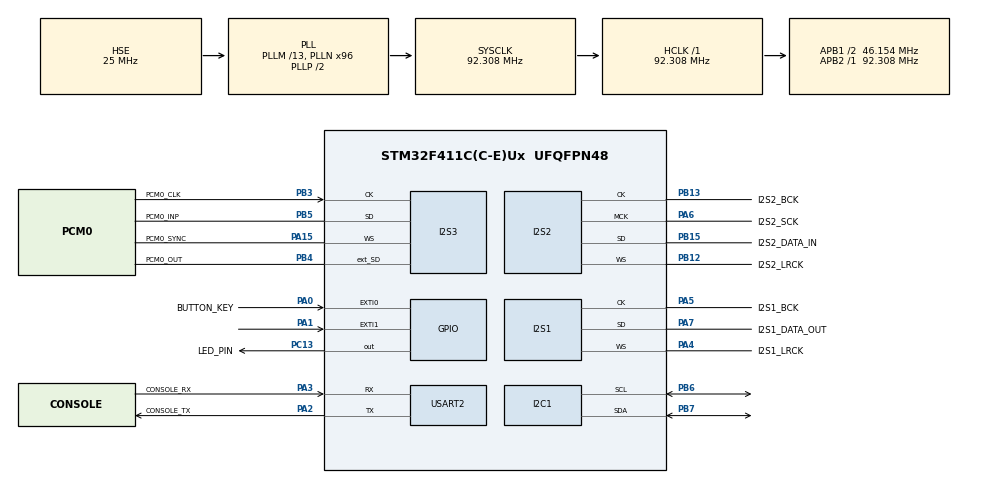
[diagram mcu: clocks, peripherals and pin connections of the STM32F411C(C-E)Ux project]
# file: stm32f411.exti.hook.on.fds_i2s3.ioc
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Dma.I2S3_EXT_TX.2.Direction=DMA_MEMORY_TO_PERIPH
Dma.I2S3_EXT_TX.2.FIFOMode=DMA_FIFOMODE_DISABLE
Dma.I2S3_EXT_TX.2.Instance=DMA1_Stream5
Dma.I2S3_EXT_TX.2.MemDataAlignment=DMA_MDATAALIGN_HALFWORD
Dma.I2S3_EXT_TX.2.MemInc=DMA_MINC_ENABLE
Dma.I2S3_EXT_TX.2.Mode=DMA_CIRCULAR
Dma.I2S3_EXT_TX.2.PeriphDataAlignment=DMA_PDATAALIGN_HALFWORD
Dma.I2S3_EXT_TX.2.PeriphInc=DMA_PINC_DISABLE
Dma.I2S3_EXT_TX.2.Priority=DMA_PRIORITY_LOW
Dma.Request0=SPI1_TX
Dma.Request1=SPI2_RX
Dma.Request2=I2S3_EXT_TX
Dma.Request3=SPI3_RX
Dma.SPI1_TX.0.Direction=DMA_MEMORY_TO_PERIPH
Dma.SPI1_TX.0.FIFOMode=DMA_FIFOMODE_DISABLE
Dma.SPI1_TX.0.Instance=DMA2_Stream2
Dma.SPI1_TX.0.MemDataAlignment=DMA_MDATAALIGN_HALFWORD
Dma.SPI1_TX.0.MemInc=DMA_MINC_ENABLE
Dma.SPI1_TX.0.Mode=DMA_CIRCULAR
Dma.SPI1_TX.0.PeriphDataAlignment=DMA_PDATAALIGN_HALFWORD
Dma.SPI1_TX.0.PeriphInc=DMA_PINC_DISABLE
Dma.SPI1_TX.0.Priority=DMA_PRIORITY_LOW
Dma.SPI2_RX.1.Direction=DMA_PERIPH_TO_MEMORY
Dma.SPI2_RX.1.FIFOMode=DMA_FIFOMODE_DISABLE
Dma.SPI2_RX.1.Instance=DMA1_Stream3
Dma.SPI2_RX.1.MemDataAlignment=DMA_MDATAALIGN_HALFWORD
Dma.SPI2_RX.1.MemInc=DMA_MINC_ENABLE
Dma.SPI2_RX.1.Mode=DMA_CIRCULAR
Dma.SPI2_RX.1.PeriphDataAlignment=DMA_PDATAALIGN_HALFWORD
Dma.SPI2_RX.1.PeriphInc=DMA_PINC_DISABLE
Dma.SPI2_RX.1.Priority=DMA_PRIORITY_LOW
Dma.SPI3_RX.3.Direction=DMA_PERIPH_TO_MEMORY
Dma.SPI3_RX.3.FIFOMode=DMA_FIFOMODE_DISABLE
Dma.SPI3_RX.3.Instance=DMA1_Stream0
Dma.SPI3_RX.3.MemDataAlignment=DMA_MDATAALIGN_HALFWORD
Dma.SPI3_RX.3.MemInc=DMA_MINC_ENABLE
Dma.SPI3_RX.3.Mode=DMA_CIRCULAR
Dma.SPI3_RX.3.PeriphDataAlignment=DMA_PDATAALIGN_HALFWORD
Dma.SPI3_RX.3.PeriphInc=DMA_PINC_DISABLE
Dma.SPI3_RX.3.Priority=DMA_PRIORITY_LOW
I2C1.DualAddressMode=I2C_DUALADDRESS_DISABLE
I2C1.GeneralCallMode=I2C_GENERALCALL_DISABLE
I2C1.I2C_Mode=I2C_Standard
I2C1.OwnAddress=16
I2S1.AudioFreq=I2S_AUDIOFREQ_48K
I2S1.DataFormat=I2S_DATAFORMAT_24B
I2S1.ErrorAudioFreq=0.04 %
I2S1.FullDuplexMode=I2S_FULLDUPLEXMODE_DISABLE
I2S1.Instance=SPI$Index
I2S1.RealAudioFreq=48.023 KHz
I2S1.VirtualMode=I2S_MODE_MASTER
I2S2.AudioFreq=I2S_AUDIOFREQ_48K
I2S2.DataFormat=I2S_DATAFORMAT_24B
I2S2.ErrorAudioFreq=0.04 %
I2S2.FullDuplexMode=I2S_FULLDUPLEXMODE_DISABLE
I2S2.Instance=SPI$Index
I2S2.Mode=I2S_MODE_MASTER_RX
I2S2.RealAudioFreq=48.023 KHz
I2S2.VirtualMode=I2S_MODE_MASTER
I2S3.AudioFreq=I2S_AUDIOFREQ_48K
I2S3.DataFormat=I2S_DATAFORMAT_24B
I2S3.ErrorAudioFreq=0.04 %
I2S3.FullDuplexMode=I2S_FULLDUPLEXMODE_ENABLE
I2S3.Instance=SPI$Index
I2S3.Mode=I2S_MODE_SLAVE_RX
I2S3.RealAudioFreq=48.023 KHz
I2S3.VirtualMode=I2S_MODE_SLAVE
Mcu.Family=STM32F4
Mcu.Name=STM32F411C(C-E)Ux
Mcu.Package=UFQFPN48
NVIC.DMA1_Stream0_IRQn=true\:0\:0\:false\:false\:true\:false\:true\:true
NVIC.DMA1_Stream3_IRQn=true\:0\:0\:false\:true\:true\:6\:false\:true\:true
NVIC.DMA1_Stream5_IRQn=true\:0\:0\:false\:false\:true\:false\:true\:true
NVIC.DMA2_Stream2_IRQn=true\:0\:0\:false\:true\:true\:10\:false\:true\:true
NVIC.EXTI0_IRQn=true\:0\:0\:false\:false\:true\:true\:true\:true
NVIC.EXTI1_IRQn=true\:0\:0\:false\:false\:true\:true\:true\:true
NVIC.FLASH_IRQn=true\:2\:1\:true\:true\:true\:3\:true\:true\:true
NVIC.FPU_IRQn=true\:3\:1\:true\:true\:true\:2\:true\:false\:true
NVIC.I2C1_ER_IRQn=true\:0\:0\:false\:true\:true\:12\:true\:true\:true
NVIC.I2C1_EV_IRQn=true\:0\:0\:false\:true\:true\:13\:true\:true\:true
NVIC.PVD_IRQn=true\:1\:3\:true\:true\:true\:4\:true\:true\:true
NVIC.PriorityGroup=NVIC_PRIORITYGROUP_2
NVIC.RCC_IRQn=true\:2\:3\:true\:true\:true\:1\:true\:false\:true
NVIC.SPI1_IRQn=true\:3\:2\:true\:true\:true\:14\:true\:true\:true
NVIC.SPI2_IRQn=true\:3\:2\:true\:true\:true\:15\:true\:true\:true
NVIC.SPI3_IRQn=true\:0\:0\:false\:true\:true\:16\:true\:true\:true
NVIC.USART2_IRQn=true\:1\:1\:true\:true\:true\:11\:true\:true\:true
PA0-WKUP.GPIO_Label=BUTTON_KEY
PA0-WKUP.GPIO_PuPd=GPIO_PULLDOWN
PA0-WKUP.Signal=GPXTI0
PA1.Signal=GPXTI1
PA13.Mode=Serial_Wire
PA13.Signal=SYS_JTMS-SWDIO
PA14.Mode=Serial_Wire
PA14.Signal=SYS_JTCK-SWCLK
PA15.GPIO_Label=PCM0_SYNC
PA15.GPIO_Speed=GPIO_SPEED_FREQ_HIGH
PA15.Mode=Full_Duplex_Slave
PA15.Signal=I2S3_WS
PA2.GPIO_Label=CONSOLE_TX
PA2.Mode=Asynchronous
PA2.Signal=USART2_TX
PA3.GPIO_Label=CONSOLE_RX
PA3.Mode=Asynchronous
PA3.Signal=USART2_RX
PA4.GPIO_Label=I2S1_LRCK
PA4.GPIO_Speed=GPIO_SPEED_FREQ_HIGH
PA4.Mode=Half_Duplex_Master
PA4.Signal=I2S1_WS
PA5.GPIO_Label=I2S1_BCK
PA5.GPIO_Speed=GPIO_SPEED_FREQ_HIGH
PA5.Mode=Half_Duplex_Master
PA5.Signal=I2S1_CK
PA6.GPIO_Label=I2S2_SCK
PA6.GPIO_Speed=GPIO_SPEED_FREQ_HIGH
PA6.Mode=Master_Clock_Activated
PA6.Signal=I2S2_MCK
PA7.GPIO_Label=I2S1_DATA_OUT
PA7.GPIO_Speed=GPIO_SPEED_FREQ_HIGH
PA7.Mode=Half_Duplex_Master
PA7.Signal=I2S1_SD
PB12.GPIO_Label=I2S2_LRCK
PB12.GPIO_Speed=GPIO_SPEED_FREQ_LOW
PB12.Mode=Half_Duplex_Master
PB12.Signal=I2S2_WS
PB13.GPIO_Label=I2S2_BCK
PB13.GPIO_Speed=GPIO_SPEED_FREQ_HIGH
PB13.Mode=Half_Duplex_Master
PB13.Signal=I2S2_CK
PB15.GPIO_Label=I2S2_DATA_IN
PB15.GPIO_Speed=GPIO_SPEED_FREQ_MEDIUM
PB15.Mode=Half_Duplex_Master
PB15.Signal=I2S2_SD
PB3.GPIO_Label=PCM0_CLK
PB3.GPIO_Speed=GPIO_SPEED_FREQ_HIGH
PB3.Mode=Full_Duplex_Slave
PB3.Signal=I2S3_CK
PB4.GPIO_Label=PCM0_OUT
PB4.GPIO_Speed=GPIO_SPEED_FREQ_HIGH
PB4.Mode=Full_Duplex_Slave
PB4.Signal=I2S3_ext_SD
PB5.GPIO_Label=PCM0_INP
PB5.GPIO_Speed=GPIO_SPEED_FREQ_MEDIUM
PB5.Mode=Full_Duplex_Slave
PB5.Signal=I2S3_SD
PB6.GPIO_Pu=GPIO_PULLUP
PB6.GPIO_Speed=GPIO_SPEED_FREQ_VERY_HIGH
PB6.Mode=I2C
PB6.Signal=I2C1_SCL
PB7.GPIO_Pu=GPIO_PULLUP
PB7.Mode=I2C
PB7.Signal=I2C1_SDA
PC13-ANTI_TAMP.GPIO_Label=LED_PIN
PC13-ANTI_TAMP.PinState=GPIO_PIN_RESET
PC13-ANTI_TAMP.Signal=GPIO_Output
PH0\ -\ OSC_IN.Mode=HSE-External-Oscillator
PH0\ -\ OSC_IN.Signal=RCC_OSC_IN
PH1\ -\ OSC_OUT.Mode=HSE-External-Oscillator
PH1\ -\ OSC_OUT.Signal=RCC_OSC_OUT
ProjectManager.HeapSize=0x800
ProjectManager.StackSize=0x1200
ProjectManager.TargetToolchain=Makefile
RCC.48MHZClocksFreq_Value=46153846.15384615
RCC.AHBFreq_Value=92307692.3076923
RCC.APB1CLKDivider=RCC_HCLK_DIV2
RCC.APB1Freq_Value=46153846.15384615
RCC.APB1TimFreq_Value=92307692.3076923
RCC.APB2Freq_Value=92307692.3076923
RCC.APB2TimFreq_Value=92307692.3076923
RCC.CortexFreq_Value=92307692.3076923
RCC.HCLKFreq_Value=92307692.3076923
RCC.HSE_Timout=120
RCC.HSE_VALUE=25000000
RCC.HSI_VALUE=16000000
RCC.LSE_VALUE=32768
RCC.PLLI2SM=26
RCC.PLLI2SN=358
RCC.PLLI2SR=7
RCC.PLLM=13
RCC.PLLN=96
RCC.PLLSourceVirtual=RCC_PLLSOURCE_HSE
RCC.RCC_TIM_PRescaler_Selection=RCC_TIMPRES_ACTIVATED
RCC.SYSCLKFreq_VALUE=92307692.3076923
RCC.SYSCLKSource=RCC_SYSCLKSOURCE_PLLCLK
RCC.VCOOutputFreq_Value=184615384.6153846
USART2.OverSampling=UART_OVERSAMPLING_8
USART2.VirtualMode=VM_ASYNC
VP_RTC_VS_RTC_Activate.Mode=RTC_Enabled
board=custom

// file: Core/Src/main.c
/* USER CODE BEGIN Header */
/**
  ******************************************************************************
  * @file           : main.c
  * @brief          : Main program body
  ******************************************************************************
  * @attention
  *
  * Copyright (c) 2024 STMicroelectronics.
  * All rights reserved.
  *
  * This software is licensed under terms that can be found in the LICENSE file
  * in the root directory of this software component.
  * If no LICENSE file comes with this software, it is provided AS-IS.
  *8
  ******************************************************************************
  */
/* USER CODE END Header */
#include "main.h"
#include "dma.h"
#include "i2c.h"
#include "i2s.h"
#include "rtc.h"
#include "usart.h"
#include "gpio.h"

/* USER CODE BEGIN PV */
static uint8_t led_on = 0x00;

#define LR_COUNT_START 16
static uint16_t current_lr_counter = 0;
static uint8_t DMA_Started = 0x00;

#define SEND_BUFF_SZ 8
static uint16_t send_buff[SEND_BUFF_SZ] = {0};
static uint16_t rcv_buff[SEND_BUFF_SZ] = {0};
static uint16_t adc_buff[SEND_BUFF_SZ] = {0};

// #define TRANSMIT_TIMEOUT 1000
#define TRANSMIT_TIMEOUT 1200
static uint16_t tm_timeout = 0;

static uint8_t adc_dma_started = 0x00;
/* USER CODE END PV */

void SystemClock_Config(void);
void PeriphCommonClock_Config(void);
static void MX_NVIC_Init(void);

/* USER CODE BEGIN 0 */
static inline void i2s3_full_stop(void){
    GPIO_InitTypeDef GPIO_InitStruct = {0};

    GPIO_InitStruct.Pin = PCM0_CLK_Pin;
    GPIO_InitStruct.Mode = GPIO_MODE_INPUT;
    GPIO_InitStruct.Pull = GPIO_NOPULL;
    GPIO_InitStruct.Speed = GPIO_SPEED_FREQ_LOW;
    // GPIO_InitStruct.Alternate = ;
    HAL_GPIO_Init(PCM0_CLK_GPIO_Port, &GPIO_InitStruct);
}

// static inline void i2s2_full_stop(void){
//     GPIO_InitTypeDef GPIO_InitStruct = {0};

//     GPIO_InitStruct.Pin = I2S1_LRCK_Pin|I2S1_BCK_Pin|I2S1_DATA_OUT_Pin;
//     GPIO_InitStruct.Mode = GPIO_MODE_INPUT;
//     GPIO_InitStruct.Pull = GPIO_NOPULL;
//     GPIO_InitStruct.Speed = GPIO_SPEED_FREQ_LOW;
//     // GPIO_InitStruct.Alternate = GPIO_AF5_SPI1;
//     HAL_GPIO_Init(GPIOA, &GPIO_InitStruct);
// }
/* USER CODE END 0 */

int main(void)
{

  /* MCU Configuration--------------------------------------------------------*/

  /* Reset of all peripherals, Initializes the Flash interface and the Systick. */
  HAL_Init();

  /* Configure the system clock */
  SystemClock_Config();

  /* Configure the peripherals common clocks */
  PeriphCommonClock_Config();

  /* Initialize all configured peripherals */
  MX_GPIO_Init();
  MX_DMA_Init();
  MX_USART2_UART_Init();
  MX_RTC_Init();
  MX_I2C1_Init();
  MX_I2S1_Init();
  // MX_I2S2_Init();
  // MX_I2S3_Init();

  /* Initialize interrupts */
  MX_NVIC_Init();
  /* USER CODE BEGIN 2 */
  HAL_GPIO_WritePin(LED_PIN_GPIO_Port, LED_PIN_Pin, GPIO_PIN_SET);

  /* USER CODE END 2 */

  /* Infinite loop */
  while (1)
  {
      tm_timeout = DMA_Started ? tm_timeout+1 : 0;
      if(tm_timeout >= TRANSMIT_TIMEOUT){
        i2s3_full_stop();
        HAL_I2S_DeInit(&hi2s3);
        // HAL_Delay(5);
        MX_I2S3_Init();
        DMA_Started = 0x0;
        tm_timeout = 0;
      }

      if(DMA_Started && !adc_dma_started){
        adc_dma_started = 0x1;
      }

      if(!DMA_Started && adc_dma_started){
        HAL_I2S_DeInit(&hi2s2);
        // HAL_Delay(5);
        MX_I2S2_Init();
        // memset((uint8_t*)&adc_buff[0], 0x00, sizeof(adc_buff[0])*SEND_BUFF_SZ);

        if(led_on){
          HAL_GPIO_WritePin(LED_PIN_GPIO_Port, LED_PIN_Pin, GPIO_PIN_SET);
          led_on = 0x0;
        }

        adc_dma_started = 0x0;
      }

  }
}

void SystemClock_Config(void)
{
  RCC_OscInitTypeDef RCC_OscInitStruct = {0};
  RCC_ClkInitTypeDef RCC_ClkInitStruct = {0};

  /** Configure the main internal regulator output voltage
  */
  __HAL_RCC_PWR_CLK_ENABLE();
  __HAL_PWR_VOLTAGESCALING_CONFIG(PWR_REGULATOR_VOLTAGE_SCALE1);

  /** Initializes the RCC Oscillators according to the specified parameters
  * in the RCC_OscInitTypeDef structure.
  */
  RCC_OscInitStruct.OscillatorType = RCC_OSCILLATORTYPE_LSI|RCC_OSCILLATORTYPE_HSE;
  RCC_OscInitStruct.HSEState = RCC_HSE_ON;
  RCC_OscInitStruct.LSIState = RCC_LSI_ON;
  RCC_OscInitStruct.PLL.PLLState = RCC_PLL_ON;
  RCC_OscInitStruct.PLL.PLLSource = RCC_PLLSOURCE_HSE;
  RCC_OscInitStruct.PLL.PLLM = 13;
  RCC_OscInitStruct.PLL.PLLN = 96;
  RCC_OscInitStruct.PLL.PLLP = RCC_PLLP_DIV2;
  RCC_OscInitStruct.PLL.PLLQ = 4;
  if (HAL_RCC_OscConfig(&RCC_OscInitStruct) != HAL_OK)
  {
    Error_Handler();
  }

  /** Initializes the CPU, AHB and APB buses clocks
  */
  RCC_ClkInitStruct.ClockType = RCC_CLOCKTYPE_HCLK|RCC_CLOCKTYPE_SYSCLK
                              |RCC_CLOCKTYPE_PCLK1|RCC_CLOCKTYPE_PCLK2;
  RCC_ClkInitStruct.SYSCLKSource = RCC_SYSCLKSOURCE_PLLCLK;
  RCC_ClkInitStruct.AHBCLKDivider = RCC_SYSCLK_DIV1;
  RCC_ClkInitStruct.APB1CLKDivider = RCC_HCLK_DIV2;
  RCC_ClkInitStruct.APB2CLKDivider = RCC_HCLK_DIV1;

  if (HAL_RCC_ClockConfig(&RCC_ClkInitStruct, FLASH_LATENCY_3) != HAL_OK)
  {
    Error_Handler();
  }
}

void PeriphCommonClock_Config(void)
{
  RCC_PeriphCLKInitTypeDef PeriphClkInitStruct = {0};

  /** Initializes the peripherals clock
  */
  PeriphClkInitStruct.PeriphClockSelection = RCC_PERIPHCLK_TIM|RCC_PERIPHCLK_I2S;
  PeriphClkInitStruct.PLLI2S.PLLI2SN = 358;
  PeriphClkInitStruct.PLLI2S.PLLI2SM = 26;
  PeriphClkInitStruct.PLLI2S.PLLI2SR = 7;
  PeriphClkInitStruct.TIMPresSelection = RCC_TIMPRES_ACTIVATED;
  if (HAL_RCCEx_PeriphCLKConfig(&PeriphClkInitStruct) != HAL_OK)
  {
    Error_Handler();
  }
}

/**
  * @brief NVIC Configuration.
  * @retval None
  */
static void MX_NVIC_Init(void)
{
  /* RCC_IRQn interrupt configuration */
  HAL_NVIC_SetPriority(RCC_IRQn, 2, 3);
  HAL_NVIC_EnableIRQ(RCC_IRQn);
  /* FPU_IRQn interrupt configuration */
  HAL_NVIC_SetPriority(FPU_IRQn, 3, 1);
  HAL_NVIC_EnableIRQ(FPU_IRQn);
  /* FLASH_IRQn interrupt configuration */
  HAL_NVIC_SetPriority(FLASH_IRQn, 2, 1);
  HAL_NVIC_EnableIRQ(FLASH_IRQn);
  /* PVD_IRQn interrupt configuration */
  HAL_NVIC_SetPriority(PVD_IRQn, 1, 3);
  HAL_NVIC_EnableIRQ(PVD_IRQn);
  /* DMA1_Stream3_IRQn interrupt configuration */
  HAL_NVIC_SetPriority(DMA1_Stream3_IRQn, 0, 0);
  HAL_NVIC_EnableIRQ(DMA1_Stream3_IRQn);
  /* DMA2_Stream2_IRQn interrupt configuration */
  HAL_NVIC_SetPriority(DMA2_Stream2_IRQn, 0, 0);
  HAL_NVIC_EnableIRQ(DMA2_Stream2_IRQn);
  /* USART2_IRQn interrupt configuration */
  HAL_NVIC_SetPriority(USART2_IRQn, 1, 1);
  HAL_NVIC_EnableIRQ(USART2_IRQn);
  /* I2C1_ER_IRQn interrupt configuration */
  HAL_NVIC_SetPriority(I2C1_ER_IRQn, 0, 0);
  HAL_NVIC_EnableIRQ(I2C1_ER_IRQn);
  /* I2C1_EV_IRQn interrupt configuration */
  HAL_NVIC_SetPriority(I2C1_EV_IRQn, 0, 0);
  HAL_NVIC_EnableIRQ(I2C1_EV_IRQn);
  /* SPI1_IRQn interrupt configuration */
  HAL_NVIC_SetPriority(SPI1_IRQn, 3, 2);
  HAL_NVIC_EnableIRQ(SPI1_IRQn);
  /* SPI2_IRQn interrupt configuration */
  HAL_NVIC_SetPriority(SPI2_IRQn, 3, 2);
  HAL_NVIC_EnableIRQ(SPI2_IRQn);
  /* SPI3_IRQn interrupt configuration */
  HAL_NVIC_SetPriority(SPI3_IRQn, 0, 0);
  HAL_NVIC_EnableIRQ(SPI3_IRQn);
}

/* USER CODE BEGIN 4 */

void HAL_GPIO_EXTI_Callback(uint16_t GPIO_Pin)
{
  switch (GPIO_Pin)
  {
    case GPIO_PIN_1:
    {
      if((!DMA_Started) && (current_lr_counter >= LR_COUNT_START)){
        HAL_I2SEx_TransmitReceive_DMA(&hi2s3, (uint16_t*)&send_buff[0], rcv_buff, SEND_BUFF_SZ/2);
        HAL_I2S_Receive_DMA(&hi2s2, (uint16_t*)&adc_buff[0], SEND_BUFF_SZ/2);

        DMA_Started = 0x1;
        current_lr_counter = 0;

        if(!led_on){
          HAL_GPIO_WritePin(LED_PIN_GPIO_Port, LED_PIN_Pin, GPIO_PIN_RESET);
          led_on = 0x1;
        }

      }

      if(DMA_Started){
        tm_timeout = 0;
        break;
      }

      current_lr_counter++;
      break;
    }
    case GPIO_PIN_0:
    {
      led_on = (led_on ? 0 : 1 );
      HAL_GPIO_WritePin(LED_PIN_GPIO_Port, LED_PIN_Pin, led_on ? GPIO_PIN_SET : GPIO_PIN_RESET);
      __NOP();
    }
    default:{
      __NOP();
      break;
    }
  }
}

void HAL_I2S_RxHalfCpltCallback(I2S_HandleTypeDef* hi2s){
  if(hi2s == &hi2s2){
    memcpy((uint8_t*)&send_buff[0], (uint8_t*)&adc_buff[0], sizeof(send_buff[0])*SEND_BUFF_SZ/2);
  }
}

void HAL_I2S_RxCpltCallback(I2S_HandleTypeDef* hi2s){
  if(hi2s == &hi2s2){
    memcpy((uint8_t*)&send_buff[SEND_BUFF_SZ/2], (uint8_t*)&adc_buff[SEND_BUFF_SZ/2], sizeof(send_buff[0])*SEND_BUFF_SZ/2);
  }
}

/* USER CODE END 4 */

void Error_Handler(void)
{
  __disable_irq();
  while (1)
  {
  }
}
